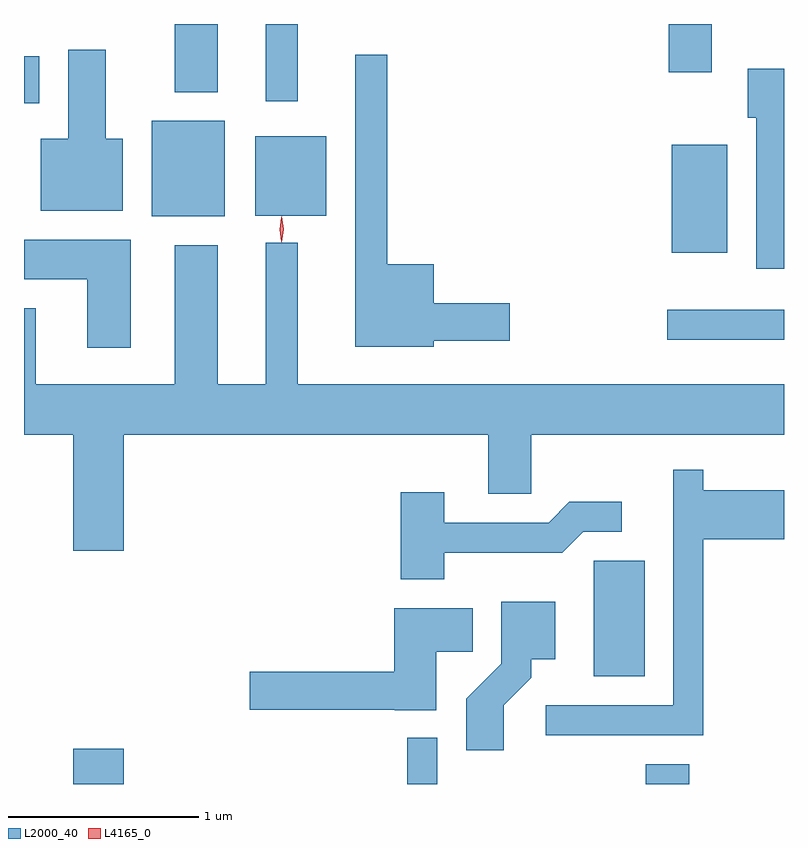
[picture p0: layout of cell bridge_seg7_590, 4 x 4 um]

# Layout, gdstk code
import gdstk
lib = gdstk.Library(unit=1e-6, precision=1e-09)
def R(c, l, rs):  # rectangles x0, y0, x1, y1
    for r in rs: c.add(gdstk.rectangle(r[:2], r[2:], *l))
def P(c, l, *ps):  # polygons
    for p in ps: c.add(gdstk.Polygon(p, *l))
L2000_40 = (2000, 40)
L4165_0 = (4165, 0)

bridge_seg7_590 = lib.new_cell('bridge_seg7_590')
R(bridge_seg7_590, L2000_40, [(654.636,1747.999,654.904,1748.184), (656.396,1747.999,656.554,1748.243), (657.651,1747.999,657.879,1748.104), (657.376,1748.566,657.644,1749.174), (657.763,1750.336,658.378,1750.494), (657.786,1750.796,658.079,1751.364), (655.051,1750.986,655.434,1751.489), (655.596,1750.991,655.969,1751.409), (654.378,1751.581,654.459,1751.829), (655.651,1751.593,655.819,1751.999), (655.171,1751.641,655.399,1751.999), (657.771,1751.746,657.999,1751.999)])
P(bridge_seg7_590, L2000_40, [(654.899,1751.394),(654.809,1751.394),(654.809,1751.864),(654.611,1751.864),(654.611,1751.394),(654.466,1751.394),(654.466,1751.016),(654.899,1751.016)],
  [(656.534,1750.331),(656.934,1750.331),(656.934,1750.529),(656.534,1750.529),(656.534,1750.734),(656.289,1750.734),(656.289,1751.838),(656.121,1751.838),(656.121,1750.301),(656.534,1750.301)],
  [(658.378,1751.764),(658.186,1751.764),(658.186,1751.506),(658.231,1751.506),(658.231,1750.711),(658.378,1750.711)],
  [(654.939,1750.864),(654.378,1750.864),(654.378,1750.656),(654.711,1750.656),(654.711,1750.296),(654.939,1750.296)],
  [(654.904,1749.836),(656.821,1749.836),(656.821,1749.526),(657.049,1749.526),(657.049,1749.836),(658.378,1749.836),(658.378,1750.104),(655.819,1750.104),(655.819,1750.848),(655.651,1750.848),(655.651,1750.104),(655.399,1750.104),(655.399,1750.834),(655.171,1750.834),(655.171,1750.104),(654.439,1750.104),(654.439,1750.504),(654.378,1750.504),(654.378,1749.836),(654.636,1749.836),(654.636,1749.226),(654.904,1749.226)],
  [(657.954,1749.286),(658.378,1749.286),(658.378,1749.544),(657.954,1749.544),(657.954,1749.653),(657.796,1749.653),(657.796,1748.414),(657.123,1748.414),(657.123,1748.256),(657.954,1748.256)],
  [(656.589,1749.216),(657.212,1749.216),(657.322,1749.326),(657.523,1749.326),(657.523,1749.484),(657.249,1749.484),(657.139,1749.374),(656.589,1749.374),(656.589,1749.534),(656.361,1749.534),(656.361,1749.076),(656.589,1749.076)],
  [(656.904,1748.414),(657.049,1748.559),(657.049,1748.656),(657.174,1748.656),(657.174,1748.959),(656.891,1748.959),(656.891,1748.632),(656.706,1748.447),(656.706,1748.176),(656.904,1748.176)],
  [(656.549,1748.696),(656.739,1748.696),(656.739,1748.924),(656.326,1748.924),(656.326,1748.589),(655.566,1748.589),(655.566,1748.391),(656.33,1748.391),(656.33,1748.386),(656.549,1748.386)])
P(bridge_seg7_590, L4165_0, [(655.733,1750.853),(655.724,1750.917),(655.733,1750.982),(655.734,1750.982),(655.734,1750.982),(655.744,1750.917),(655.734,1750.853),(655.734,1750.853)],
  [(655.734,1750.85),(655.725,1750.918),(655.734,1750.986),(655.735,1750.986),(655.735,1750.986),(655.745,1750.918),(655.735,1750.85),(655.735,1750.85)])

lib.write_gds('bridge_seg7_590.gds')
